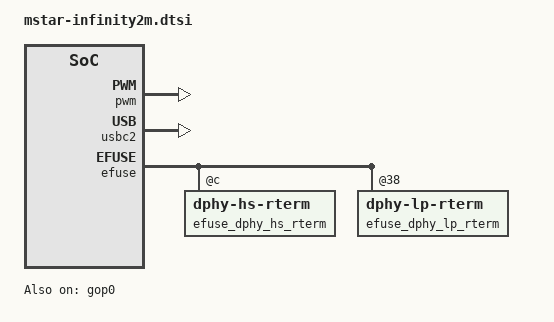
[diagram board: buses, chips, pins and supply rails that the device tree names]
// SPDX-License-Identifier: GPL-2.0-or-later
/*
 * Copyright (c) 2020 thingy.jp.
 * Author: Daniel Palmer <daniel@thingy.jp>
 */

#include "mstar-infinity.dtsi"

/ {
	clk_timer: timer_clk {
		#clock-cells = <0>;
		compatible = "fixed-clock";
		clock-frequency = <432000000>;
	};

	ge_opp_table: ge_opp_table {
		compatible = "operating-points-v2";
		opp-144000000 {
			opp-hz = /bits/ 64 <144000000>;
			clock-latency-ns = <300000>;
		};
		opp-172000000 {
			opp-hz = /bits/ 64 <172000000>;
			clock-latency-ns = <300000>;
		};
		opp-216000000 {
			opp-hz = /bits/ 64 <216000000>;
			clock-latency-ns = <300000>;
		};
		opp-320000000 {
			opp-hz = /bits/ 64 <320000000>;
			clock-latency-ns = <300000>;
		};
		opp-384000000 {
			opp-hz = /bits/ 64 <384000000>;
			clock-latency-ns = <300000>;
		};
		opp-432000000 {
			opp-hz = /bits/ 64 <432000000>;
			clock-latency-ns = <300000>;
		};
	};
};

&cpus {
	cpu1: cpu@1 {
		device_type = "cpu";
		compatible = "arm,cortex-a7";
		operating-points-v2 = <&cpu0_opp_table>;
		reg = <0x1>;
		clocks = <&cpupll>;
		clock-names = "cpuclk";
	};
};

&cpu0_opp_table {
	opp-1008000000 {
		opp-hz = /bits/ 64 <1008000000>;
		opp-microvolt = <1000000>;
		clock-latency-ns = <300000>;
	};

	opp-108000000 {
		opp-hz = /bits/ 64 <1080000000>;
		opp-microvolt = <1000000>;
		clock-latency-ns = <300000>;
	};

	opp-1188000000 {
		opp-hz = /bits/ 64 <1188000000>;
		opp-microvolt = <1000000>;
		clock-latency-ns = <300000>;
	};

	opp-1296000000 {
		opp-hz = /bits/ 64 <1296000000>;
		opp-microvolt = <1000000>;
		clock-latency-ns = <300000>;
	};

	/* Overclock. Stable upto 1.8GHz */
	opp-1350000000 {
		opp-hz = /bits/ 64 <1350000000>;
		opp-microvolt = <1000000>;
		clock-latency-ns = <300000>;
		turbo-mode;
	};

	opp-1404000000 {
		opp-hz = /bits/ 64 <1404000000>;
		opp-microvolt = <1000000>;
		clock-latency-ns = <300000>;
		turbo-mode;
	};

	opp-1458000000 {
		opp-hz = /bits/ 64 <1458000000>;
		opp-microvolt = <1000000>;
		clock-latency-ns = <300000>;
		turbo-mode;
	};

	opp-1512000000 {
		opp-hz = /bits/ 64 <1512000000>;
		opp-microvolt = <1000000>;
		clock-latency-ns = <300000>;
		turbo-mode;
	};

	opp-1600000000 {
		opp-hz = /bits/ 64 <1600000000>;
		opp-microvolt = <1000000>;
		clock-latency-ns = <300000>;
		turbo-mode;
	};

	opp-1700000000 {
		opp-hz = /bits/ 64 <1700000000>;
		opp-microvolt = <1000000>;
		clock-latency-ns = <300000>;
		turbo-mode;
	};

/*	opp-1800000000 {
		opp-hz = /bits/ 64 <1800000000>;
		opp-microvolt = <1000000>;
		clock-latency-ns = <300000>;
		turbo-mode;
	};*/
};

&pmu {
		interrupts = <GIC_SPI 10 IRQ_TYPE_LEVEL_HIGH>,
			     <GIC_SPI 16 IRQ_TYPE_LEVEL_HIGH>;
		interrupt-affinity = <&cpu0>, <&cpu1>;
};

&riu {
	por: por@c00 {
		/* this seems to just be a lump of NVRAM */
		reg = <0xc00 0x20>;
	};

	mmu: mmu@2600 {
	};

	pwm: pwm@3400 {
		compatible = "mstar,ssd20xd-pwm";
		reg = <0x3400 0x400>;
		#pwm-cells = <2>;
		clocks = <&xtal_div2>;
	};

	rtcpwc: rtcpwc@6800 {
		compatible = "sstar,ssd20xd-rtcpwc";
		reg = <0x6800 0x200>;
		//TBC from i6 headers
		interrupts-extended = <&wakeintc 7 IRQ_TYPE_LEVEL_HIGH>;
		wakeup-source;
	};

	movedma: movedma@201600 {
		compatible = "sstar,ssd20xd-movedma";
		#dma-cells = <1>;
		reg = <0x201600 0x200>;
		clocks = <&clkgen MSC313_CLKGEN_DEGLITCHES SSD20XD_CLKGEN_MSPI_MOVEDMA 0>;
		interrupts-extended = <&intc_irq GIC_SPI 60 IRQ_TYPE_LEVEL_HIGH>;
	};

	//start address for second cpu
	//0x1F20404C
	//0x1F204050
	//0x1F204058 -- unlock

	smpctrl: smpctrl@204000 {
		reg = <0x204000 0x200>;
		status = "disabled";
	};

	uart2: serial@221400 {
		compatible = "mstar,msc313-uart", "snps,dw-apb-uart";
		reg = <0x221400 0x100>;
		reg-shift = <3>;
		interrupts-extended = <&intc_irq GIC_SPI 39 IRQ_TYPE_LEVEL_HIGH>;
		//clocks = <&clkgen MSC313_CLKGEN_DEGLITCHES MSC313_CLKGEN_UART1 0>;
		status = "disabled";
	};

	gpi: interrupt-controller@207a00 {
		compatible = "sstar,ssd20xd-gpi";
		reg = <0x207a00 0x200>;
		#interrupt-cells = <2>;
		interrupt-controller;
		interrupts-extended = <&intc_irq GIC_SPI 56 IRQ_TYPE_LEVEL_HIGH>;
	};

	display: display@0 {
		compatible = "sstar,ssd20xd-drm";
		ports = <&mopg>,<&mops>,<&gop0>,<&gop1>,<&op2>,<&displaytop>,<&dsi>;
		/*
		 * The display clock tree the vendor bring-up selects:
		 *   CLK_mop      <- mpll_288m      (mux 2)
		 *   CLK_sc_pixel <- mpll_288m / 8  (mux 14)
		 * (CLK_disp_432 has only mpll_432m, CLK_mipi_tx_dsi is set up
		 * by the DSI host.)
		 */
		assigned-clocks = <&clkgen MSC313_CLKGEN_MUXES MSC313_CLKGEN_MOP 0>,
				  <&clkgen MSC313_CLKGEN_MUXES SSD20XD_CLKGEN_SC_PIXEL 0>;
		assigned-clock-parents = <&clkgen MSC313_CLKGEN_GATES MSC313_CLKGEN_GATE_8 0>,
					 <&clkgen MSC313_CLKGEN_DIVIDERS MSC313_CLKGEN_GATE_8 2>;
	};

	/*
	 * The JPEG encoder ("cedric-jpe" to the vendor). Same register base as the
	 * one already described for the MSC313, but a different interrupt: the
	 * vendor device tree for an SSD202D board gives SPI 61 where the MSC313 uses
	 * 29. The block answers on the RIU with sensible reset values (0x00 0x0002,
	 * 0x0c 0x0040, 0x58 0x07ff, 0x60 0x80f8, 0xc8 0x1000) whether its clock is
	 * gated or not.
	 *
	 * There is no driver. The register semantics are not in reach from the
	 * vendor blobs: mhal.ko reaches every other block through literal
	 * 0xfd0xxxxx RIU addresses but has no such literal for this one, because the
	 * JPE is driven entirely through CMDQ command lists built at runtime. Its
	 * markers (SOI/DQT/SOF/DHT/SOS) are generated in software by
	 * drv_jpegenc_marker_create_baseline(), so the hardware only produces the
	 * entropy coded scan. Getting the register map needs an MMIO trace of the
	 * vendor stack rather than static analysis - and note a blind write sweep is
	 * a bad idea, this block is a MIU master and could be made to scribble over
	 * DRAM.
	 */
	jpe@264000 {
		reg = <0x264000 0x100>;
		clocks = <&clkgen MSC313_CLKGEN_DEGLITCHES MSC313_CLKGEN_JPE 0>;
		clock-names = "jpe";
		interrupts-extended = <&intc_irq GIC_SPI 61 IRQ_TYPE_LEVEL_HIGH>;
		interconnects = <&miu 0>;
		interconnect-names = "dma-mem";
		status = "disabled";
	};

	ge: ge@281200 {
		compatible = "sstar,ssd20xd-ge";
		reg = <0x281200 0x200>;
		clocks = <&clkgen MSC313_CLKGEN_DEGLITCHES MSC313_CLKGEN_GE 0>;
		clock-names = "ge";
		/* 
		 * Set the clock to the highest frequency, it's doesn't seem to make
		 * much difference over using the MIU source.
		 */
		assigned-clocks = <&clkgen MSC313_CLKGEN_MUXES MSC313_CLKGEN_GE 0>;
		assigned-clock-parents = <&clkgen MSC313_CLKGEN_GATES MSC313_CLKGEN_GATE_6 0>;
		//assigned-clock-parents = <&clkgen MSC313_CLKGEN_MUXES MSC313_CLKGEN_MIU 0>;
		interrupts-extended = <&intc_irq GIC_SPI 25 IRQ_TYPE_LEVEL_HIGH>;
		interconnects = <&miu 0>;
		interconnect-names = "dma-mem";
		operating-points-v2 = <&ge_opp_table>;
	};

	hdmitx: hdmitx@224A00 {
		compatible = "sstar,ssd20xd-hdmi";
		reg = <0x224A00 0x400>;
		status = "disabled";
		ports {
			#address-cells = <1>;
			#size-cells = <0>;
			port@0 {
				reg = <0>;
				hdmitx_in: endpoint {
					remote-endpoint = <&op2_hdmitx>;
				};
			};
		};
	};

	displaytop: top@225000 {
		compatible = "sstar,ssd20xd-display-top";
		reg = <0x225000 0x200>, <0x224c00 0x400>;
		reg-names = "top", "front";
		interrupts-extended = <&intc_irq GIC_SPI 50 IRQ_TYPE_LEVEL_HIGH>;
		clock-names = "sc_pixel", "disp_432", "disp_216", "hdmi";
		clocks = <&clkgen MSC313_CLKGEN_DEGLITCHES SSD20XD_CLKGEN_SC_PIXEL 0>,
			 <&clkgen MSC313_CLKGEN_DEGLITCHES SSD20XD_CLKGEN_DISP_432 0>,
			 <&clkgen MSC313_CLKGEN_DEGLITCHES SSD20XD_CLKGEN_DISP_216 0>,
			 <&sc_gp_ctrl_muxes SSD20XD_SC_GP_HDMI_GATE>;
		/* CLK_hdmi <- sc_pixel, as the vendor display bring-up sets it */
		assigned-clocks = <&sc_gp_ctrl_muxes SSD20XD_SC_GP_HDMI_GATE_MUX>;
		assigned-clock-parents = <&clkgen MSC313_CLKGEN_DEGLITCHES SSD20XD_CLKGEN_SC_PIXEL 0>;
	};

	op2: op2@225200 {
		compatible = "sstar,ssd20xd-op2";
		reg = <0x225200 0x200>;
		status = "disabled";
		mstar,op2-output = <0>;
		ports {
			#address-cells = <1>;
			#size-cells = <0>;
			port@0 {
				reg = <0>;
				op2_ttl: endpoint {
				};
			};
			port@1 {
				reg = <1>;
				op2_dsi: endpoint {
				};
			};
			port@2 {
				reg = <2>;
				op2_hdmitx: endpoint {
				};
			};
		};
	};

	// all zeros
	osd: osd@243000 {

	};

	// all zeros
	scl_to_gop@243400 {
	};

	dip_to_gop@247400 {

	};

	gop1: gop@246800 {
		compatible = "sstar,ssd20xd-gop1";
		reg = <0x246800 0x400>;
	};

	mopg: mopg@280a00 {
		compatible = "sstar,ssd20xd-mopg";
		reg = <0x280a00 0x600>;
		clocks = <&clkgen MSC313_CLKGEN_DEGLITCHES MSC313_CLKGEN_MOP 0>;
	};

	mops: mops@281000 {
		compatible = "sstar,ssd20xd-mops";
		reg = <0x281000 0x200>;
		/* its double buffer trigger is in the mopg's page */
		sstar,mop-latch = <&mopg>;
	};

	moprot: moprot@281a00 {
		compatible = "sstar,ssd20xd-moprot";
		reg = <0x281a00 0x200>;
	};

	upll1: upll@283e00 {
		#clock-cells = <1>;
		compatible = "mstar,msc313-upll";
		reg = <0x283e00 0x20>;
		clocks = <&xtal>;
	};

	utmi2: utmi@284a00 {
		compatible = "syscon";
		reg = <0x284a00 0x80>;
	};

	usbc2: usbc@284e00 {
		compatible = "syscon";
		reg = <0x284e00 0x20>;
	};

	usbphy2: usbphy@2 {
		#phy-cells = <1>;
		compatible = "mstar,msc313-usb-phy";
		clocks = <&xtal_div2>;
		mstar,utmi = <&utmi2>;
		mstar,usbc = <&usbc2>;
		status = "disabled";
	};

	uhc2: uhc@285000 {
		compatible = "mstar,msc313-ehci";
		reg = <0x285000 0x200>;
		interrupts-extended = <&intc_irq GIC_SPI 33 IRQ_TYPE_LEVEL_HIGH>;
		phys = <&usbphy2 0>;
		phy-names = "usb";
		mstar,usbc = <&usbc2>;
		status = "disabled";
	};

	dphy: dphy@2a5000 {
		compatible = "sstar,ssd20xd-dphy";
		reg = <0x2a5000 0x200>;
		#phy-cells = <0>;
		nvmem-cells = <&efuse_dphy_hs_rterm>, <&efuse_dphy_lp_rterm>;
		nvmem-cell-names = "hs-rterm", "lp-rterm";
	};

	/*
	 * Chips&Media WAVE511 video decoder: a plain 32-bit register window
	 * at 0x344800 (PRODUCT_NAME reads "WAVE" there), running up to the
	 * DSI host at 0x345200. The product number register at 0x1044 is
	 * beyond it, which is why the driver is told the product code.
	 */
	vpu: video-codec@344800 {
		compatible = "sstar,ssd20xd-vdec", "cnm,wave511";
		reg = <0x344800 0xa00>, <0x226e00 0x200>;
		reg-names = "vpu", "wrapper";
		clocks = <&clkgen MSC313_CLKGEN_DEGLITCHES SSD20XD_CLKGEN_DEC_PCLK 0>,
			<&clkgen MSC313_CLKGEN_DEGLITCHES SSD20XD_CLKGEN_DEC_ACLK 0>,
			<&clkgen MSC313_CLKGEN_DEGLITCHES SSD20XD_CLKGEN_DEC_BCLK 0>,
			<&clkgen MSC313_CLKGEN_DEGLITCHES SSD20XD_CLKGEN_DEC_CCLK 0>;
		clock-names = "apb", "axi", "bpu", "vce";
		interrupts-extended = <&intc_irq GIC_SPI 21 IRQ_TYPE_LEVEL_HIGH>;
		interconnects = <&miu 0>;
		interconnect-names = "dma-mem";
		status = "disabled";
	};
	
	//#define SATA_GHC_0          0x1A2800
	//#define SATA_GHC_0_P0       0x1A2840
	//#define SATA_GHC_0_MISC     0x152500
	//#define SATA_GHC_0_PHY      0x152600
	//#define SATA_GHC_0_PHY_ANA  0x152700

	sata_phy: phy@2a4a00 {
		#phy-cells = <0>;
		compatible = "sstar,ssd203d-sata-phy";
		reg = <0x2a4a00 0x600>;
	};

	sata: ahci@345000 {
		compatible = "generic-ahci";
		reg = <0x345000 0x1000>;
		interrupts-extended = <&intc_irq GIC_SPI 18 IRQ_TYPE_LEVEL_HIGH>;
		clocks = <&clkgen MSC313_CLKGEN_DEGLITCHES SSD20XD_CLKGEN_SATA 0>;
		phy-names = "sata-phy";
		phys = <&sata_phy>;
		status = "disabled";
	};

	dsi: dsi@345200 {
		compatible = "sstar,ssd20xd-dsi";
		reg = <0x345200 0x400>;
		interrupts-extended = <&intc_irq GIC_SPI 57 IRQ_TYPE_LEVEL_HIGH>;
		phy-names = "dphy";
		phys = <&dphy>;
		/*
		 * The host and D-PHY register banks are clocked by the
		 * mipi_tx_dsi APB clock, which must be fed from the DSI
		 * clock (mux 1) or the first access to them hangs the bus; the
		 * lane rate comes from the LPLL through CLK_mipi_tx_dsi.
		 */
		clock-names = "engine", "digital", "hs", "pixel";
		clocks = <&sc_gp_ctrl_muxes SSD20XD_SC_GP_MIPI_TX_DSI_APB>,
			 <&sc_gp_ctrl_muxes SSD20XD_SC_GP_MIPI_TX_DSI_APB>,
			 <&clkgen MSC313_CLKGEN_DEGLITCHES SSD20XD_CLKGEN_MIPI_TX_DSI 0>,
			 <&sc_gp_ctrl_muxes SSD20XD_SC_GP_DAC>;
		assigned-clocks = <&sc_gp_ctrl_muxes SSD20XD_SC_GP_MIPI_TX_DSI_APB_MUX>,
				  <&clkgen MSC313_CLKGEN_MUXES SSD20XD_CLKGEN_MIPI_TX_DSI 0>,
				  <&sc_gp_ctrl_muxes SSD20XD_SC_GP_DAC_MUX>;
		assigned-clock-parents = <&clkgen MSC313_CLKGEN_DEGLITCHES SSD20XD_CLKGEN_MIPI_TX_DSI 0>,
					 <&lpll 0>,
					 <&sc_gp_ctrl_muxes SSD20XD_SC_GP_HDMI_GATE>;
		status = "disabled";
		ports {
			#address-cells = <1>;
			#size-cells = <0>;
			port@0 {
				reg = <0>;
				dsi_out: endpoint {
				};
			};
			port@1 {
				reg = <1>;
				dsi_in: endpoint {
					remote-endpoint = <&op2_dsi>;
				};
			};
		};
	};
};

&aesdma {
	compatible = "sstar,ssd20xd-aesdma";
};

&bdma {
	compatible = "sstar,ssd20xd-bdma";
	reg = <0x200400 0x100>;
	interrupt-parent = <&intc_irq>;
	interrupts = <GIC_SPI 40 IRQ_TYPE_LEVEL_HIGH>,
		     <GIC_SPI 41 IRQ_TYPE_LEVEL_HIGH>,
		     <GIC_SPI 61 IRQ_TYPE_LEVEL_HIGH>,
		     <GIC_SPI 62 IRQ_TYPE_LEVEL_HIGH>;
};

&gop0 {
	compatible = "sstar,ssd20xd-gop0";
	status = "okay";
};

&gpio {
	interrupt-parent = <&gpi>;
};

&timer0 {
	compatible = "sstar,ssd20xd-timer";
	clocks = <&clk_timer>;
};

&timer1 {
	compatible = "sstar,ssd20xd-timer";
	clocks = <&clk_timer>;
};

&timer2 {
	compatible = "sstar,ssd20xd-timer";
	clocks = <&clk_timer>;
};

&uhc0 {
	interrupts-extended = <&intc_irq GIC_SPI 55 IRQ_TYPE_LEVEL_HIGH>;
};

&uhc1 {
	interrupts-extended = <&intc_irq GIC_SPI 31 IRQ_TYPE_LEVEL_HIGH>;
};

&phy {
	compatible = "ethernet-phy-idDEAD.B33F";
};

&emac {
	compatible = "mstar,msc313e-emac";
	reg = <0x2a2000 0x400>,
	      <0x343c00 0x400>;
};

&imi {
	reg = <0xa0000000 0x10000>;
};

&sc_gp_ctrl_muxes {
	compatible = "sstar,ssd20xd-sc-gp-ctrl-muxes";
	clock-names = "eth_buf", "rmii_buf","xtal_div2", "sdio_clkgen", "sc_pixel", "mipi_tx_dsi";
	clocks = <&eth_buf>,
		 <&rmii_buf>,
		 <&xtal_div2>,
		 <&clkgen MSC313_CLKGEN_DEGLITCHES MSC313_CLKGEN_SDIO 0>,
		 <&clkgen MSC313_CLKGEN_DEGLITCHES SSD20XD_CLKGEN_SC_PIXEL 0>,
		 <&clkgen MSC313_CLKGEN_DEGLITCHES SSD20XD_CLKGEN_MIPI_TX_DSI 0>;
};

/*
 * MIPI D-PHY line-termination trims the stock IPL applies from the eFuse:
 * word 3 [15:14] is HS_RTERM, word 0xe carries a valid bit in [15] over
 * LP_RTERM in [14:13]. Words are 4 bytes apart in the nvmem view.
 */
&efuse {
	#address-cells = <1>;
	#size-cells = <1>;

	efuse_dphy_hs_rterm: dphy-hs-rterm@c {
		reg = <0xc 0x2>;
		bits = <14 2>;
	};

	efuse_dphy_lp_rterm: dphy-lp-rterm@38 {
		reg = <0x38 0x2>;
		bits = <13 3>;
	};
};

&clkgen {
	compatible = "sstar,ssd20xd-clkgen";
};

&sdio {
	clocks = <&sc_gp_ctrl_muxes SSD20XD_SC_GP_SDIO_GATE>;
};

&mspi0 {
	compatible = "sstar,ssd20xd-spi", "mstar,msc313-spi";
	dma-names = "movedma";
	dmas = <&movedma 0>;
	interconnects = <&miu 0>;
	interconnect-names = "dma-mem";
};
